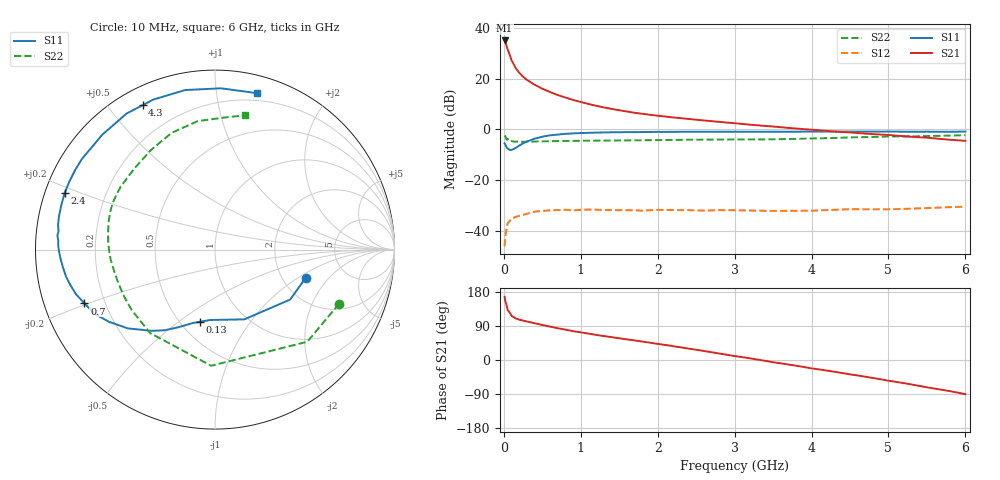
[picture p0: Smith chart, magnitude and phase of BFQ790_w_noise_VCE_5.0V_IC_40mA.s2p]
! (c) 2015  Infineon Technologies AG, Munich
! Infineon Technologies  Discrete & RF Semiconductors
! BFQ790
! VCE =  5.0 V,  IC =  40 mA
! Common Emitter S-Parameters:  May 2015
# GHz  S  MA  R  50
!  f  S11  S21  S12  S22
! GHz  MAG  ANG  MAG  ANG  MAG  ANG  MAG  ANG
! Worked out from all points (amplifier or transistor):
!   77 points, 10 MHz to 6 GHz, reference 50 ohm
!   highest |S21| = 35.0 dB at 10 MHz (marker M1)
!   |S21| within 3 dB of that: start of sweep to 43.48 MHz
!   unconditionally stable (mu >= 1): 1.498941 GHz to 1.502814 GHz; 1.626 GHz to end of sweep
!   at 130 MHz: K = 0.75, MSG = 30.2 dB, |S12| = -34.8 dB
!   at 2.2 GHz: K = 1.13, MAG = 16.0 dB, |S12| = -31.8 dB
!   at 6 GHz: K = 1.78, MAG = 7.8 dB, |S12| = -30.4 dB
!   lowest NFmin = 2.18 dB at 900 MHz
!   S11 on the Smith chart (normalised r, x): 10 MHz: 2.67, -1.17; 130 MHz: 0.62, -0.60; 700 MHz: 0.12, -0.20; 2.4 GHz: 0.06, +0.18; 4.3 GHz: 0.07, +0.62; 6 GHz: 0.14, +1.29
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0.01  0.5292 -17.3  56.16 166.7  0.005 45.8  0.7548 -23.5
0.02  0.5029 -33.6  52.19 154.7  0.0079 49.0  0.7265 -45.0
0.05  0.4218 -67.1  37.08 131.4  0.0142 36.8  0.6476 -91.9
0.1  0.393 -93.8  22.73 116.0  0.0174 24.6  0.5889 -127.9
0.13  0.4105 -101.7  18.88 112.9  0.0182 22.4  0.5741 -137.5
0.15  0.4261 -106.5  16.35 110.1  0.0188 21.1  0.5735 -144.0
0.2  0.4778 -115.2  12.97 106.6  0.0198 20.3  0.5698 -152.7
0.25  0.5295 -121.9  10.87 104.0  0.0207 17.1  0.569 -158.3
0.3  0.5743 -128.0  9.386 101.5  0.0217 14.8  0.5704 -162.4
0.4  0.6548 -137.9  7.533 96.8  0.0239 12.2  0.5747 -168.0
0.5  0.7145 -145.7  6.294 92.3  0.0248 7.8  0.5791 -171.8
0.7  0.7865 -157.6  4.732 83.9  0.0257 4.2  0.5873 -177.5
0.9  0.8307 -166.5  3.786 76.2  0.0253 -1.3  0.592 178.6
1.1  0.8528 -173.3  3.152 69.6  0.0263 -5.7  0.5969 175.6
1.5  0.8746 176.8  2.369 57.3  0.0255 -10.3  0.6027 170.8
2.1  0.8898 165.5  1.781 39.7  0.0258 -16.9  0.6151 163.3
2.4  0.895 159.3  1.599 30.1  0.0256 -21.9  0.6226 158.5
3.1  0.8943 143.4  1.274 7.5  0.0253 -29.7  0.6309 143.9
4.1  0.9015 120.9  0.956 -24.9  0.0253 -37.2  0.6641 120.2
4.3  0.9001 116.6  0.906 -31.1  0.026 -38.7  0.6764 115.2
5.1  0.8998 98.1  0.752 -57.8  0.0268 -47.4  0.7228 95.4
6  0.9024 75.1  0.594 -90.1  0.0301 -60.4  0.7658 77.6
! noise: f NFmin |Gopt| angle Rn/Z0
0.45  2.74  0.31  109  0.35
0.9  2.18  0.46  155  0.14
1.5  2.29  0.62  -180  0.07
1.8  2.51  0.66  -173  0.07
2.6  3.27  0.73  -155  0.19
3.5  4.02  0.86  -137  0.55
